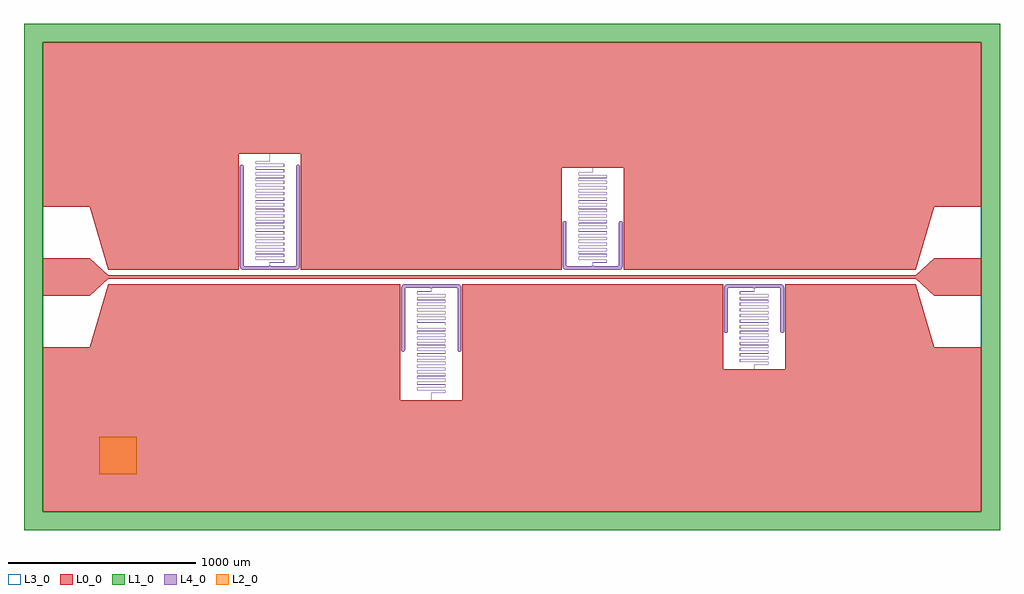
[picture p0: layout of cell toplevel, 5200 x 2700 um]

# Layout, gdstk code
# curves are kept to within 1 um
import gdstk
lib = gdstk.Library(unit=1e-6, precision=1e-09)
def R(c, l, rs):  # rectangles x0, y0, x1, y1
    for r in rs: c.add(gdstk.rectangle(r[:2], r[2:], *l))
def P(c, l, *ps):  # polygons
    for p in ps: c.add(gdstk.Polygon(p, *l))
L0_0 = (0, 0)
L1_0 = (1, 0)
L2_0 = (2, 0)
L3_0 = (3, 0)
L4_0 = (4, 0)

toplevel = lib.new_cell('toplevel')
P(toplevel, L0_0, [(-1125,657.5),(-1125,37.5),(265,37.5),(265,582.5),(595,582.5),(595,37.5),(2150,37.5),(2250,375),(2500,375),(2500,1250),(-2500,1250),(-2500,375),(-2250,375),(-2150,37.5),(-1455,37.5),(-1455,657.5)],
  [(2500,-1250),(2500,-375),(2250,-375),(2150,-37.5),(1455,-37.5),(1455,-492.5),(1125,-492.5),(1125,-37.5),(-265,-37.5),(-265,-657.5),(-595,-657.5),(-595,-37.5),(-2150,-37.5),(-2250,-375),(-2500,-375),(-2500,-1250)],
  [(-2150,10),(-2250,100),(-2500,100),(-2500,-100),(-2250,-100),(-2150,-10),(2150,-10),(2250,-100),(2500,-100),(2500,100),(2250,100),(2150,10)])
P(toplevel, L1_0, [(2600,1350),(-2600,1350),(-2600,-1250),(-2500,-1250),(-2500,1250),(2500,1250),(2500,-1250),(-2500,-1250),(-2600,-1250),(-2600,-1350),(2600,-1350)])
R(toplevel, L2_0, [(-2200,-1050,-2000,-850)])
R(toplevel, L3_0, [(-2500,-1250,2500,1250)])
P(toplevel, L4_0, [(-1158.256,37.5),(-1147.418,38.546),(-1139.063,42.458),(-1133.214,49.297),(-1130.348,58.625),(-1130,258.168),(-1150,258.168),(-1150.038,63.083),(-1151.082,58.445),(-1157.931,57.5),(-1280,57.5),(-1289.7,62.5),(-1289.291,77.175),(-1215.361,77.305),(-1214.704,78.388),(-1214.702,91.589),(-1215.693,92.78),(-1364.666,93.171),(-1364.214,107.187),(-1216.111,107.2),(-1214.7,108.606),(-1214.709,121.702),(-1215.724,122.784),(-1364.544,122.941),(-1364.163,137.192),(-1216.111,137.2),(-1214.7,138.601),(-1214.706,151.654),(-1215.755,152.787),(-1364.468,152.887),(-1364.184,167.19),(-1216.111,167.2),(-1214.7,168.601),(-1214.704,181.624),(-1215.73,182.785),(-1364.306,182.829),(-1364.405,197.142),(-1215.73,197.215),(-1214.706,198.34),(-1214.7,211.404),(-1216.111,212.8),(-1364.202,212.812),(-1364.507,227.089),(-1215.755,227.213),(-1214.706,228.334),(-1214.7,241.404),(-1216.111,242.8),(-1364.197,242.811),(-1364.572,257.03),(-1216.036,257.2),(-1214.724,258.168),(-1363.888,257.8),(-1365.3,256.404),(-1365.293,243.328),(-1364.245,242.213),(-1215.428,242.03),(-1215.803,227.811),(-1363.888,227.8),(-1365.3,226.404),(-1365.294,213.34),(-1364.251,212.213),(-1215.458,212.061),(-1215.798,197.812),(-1364.003,197.799),(-1365.3,196.378),(-1365.292,183.31),(-1364.238,182.212),(-1215.511,182.101),(-1215.82,167.809),(-1363.942,167.8),(-1365.3,166.503),(-1365.295,153.352),(-1364.245,152.213),(-1215.69,152.171),(-1215.579,137.864),(-1364.22,137.79),(-1365.293,136.678),(-1365.3,123.606),(-1363.888,122.2),(-1215.761,122.184),(-1215.491,107.912),(-1364.238,107.788),(-1365.294,106.653),(-1365.3,93.612),(-1363.888,92.2),(-1215.811,92.19),(-1215.45,77.946),(-1289.481,77.746),(-1290.296,76.612),(-1290.3,62.5),(-1300,57.5),(-1422.878,57.504),(-1428.872,58.413),(-1429.998,64.94),(-1430,258.168),(-1450,258.168),(-1449.942,62.192),(-1449.229,56.102),(-1447.537,50.823),(-1444.735,46.164),(-1441.07,42.559),(-1433.52,38.804),(-1423.646,37.512)],
  [(-1214.717,258.218),(-1214.707,271.678),(-1214.797,272.119),(-1215.007,272.459),(-1215.328,272.681),(-1215.755,272.787),(-1363.935,272.8),(-1364.474,272.89),(-1364.677,273.221),(-1364.698,286.567),(-1364.572,287.03),(-1364.184,287.19),(-1216.036,287.2),(-1215.532,287.25),(-1215.155,287.415),(-1214.887,287.699),(-1214.736,288.097),(-1214.707,301.678),(-1214.797,302.119),(-1215.007,302.459),(-1215.328,302.681),(-1215.755,302.787),(-1363.935,302.8),(-1364.471,302.888),(-1364.675,303.209),(-1364.698,316.567),(-1364.572,317.03),(-1364.184,317.19),(-1216.036,317.2),(-1215.539,317.249),(-1215.161,317.411),(-1214.894,317.686),(-1214.74,318.078),(-1214.707,331.678),(-1214.797,332.119),(-1215.007,332.459),(-1215.328,332.681),(-1215.755,332.787),(-1363.935,332.8),(-1364.465,332.885),(-1364.671,333.194),(-1364.698,346.567),(-1364.572,347.03),(-1364.18,347.191),(-1216.041,347.2),(-1215.545,347.247),(-1215.173,347.403),(-1214.903,347.673),(-1214.745,348.052),(-1214.707,361.677),(-1214.797,362.119),(-1215.007,362.459),(-1215.328,362.681),(-1215.755,362.787),(-1363.93,362.8),(-1364.457,362.881),(-1364.668,363.179),(-1364.698,376.567),(-1364.572,377.03),(-1364.18,377.191),(-1216.041,377.2),(-1215.558,377.244),(-1215.186,377.394),(-1214.915,377.655),(-1214.754,378.019),(-1214.707,391.677),(-1214.797,392.119),(-1215.007,392.459),(-1215.328,392.681),(-1215.755,392.787),(-1363.93,392.8),(-1364.451,392.878),(-1364.663,393.16),(-1364.698,406.563),(-1364.572,407.03),(-1364.18,407.191),(-1216.041,407.2),(-1215.565,407.243),(-1215.199,407.387),(-1214.928,407.636),(-1214.762,407.987),(-1214.707,421.671),(-1214.795,422.112),(-1215.002,422.453),(-1215.328,422.681),(-1215.755,422.787),(-1363.93,422.8),(-1364.439,422.872),(-1364.657,423.139),(-1364.698,436.563),(-1364.572,437.03),(-1364.18,437.191),(-1216.047,437.2),(-1215.218,437.375),(-1214.947,437.612),(-1214.774,437.947),(-1214.7,438.547),(-1214.707,451.671),(-1214.795,452.112),(-1215.002,452.453),(-1215.328,452.681),(-1215.755,452.787),(-1363.925,452.8),(-1364.427,452.867),(-1364.649,453.115),(-1364.698,466.563),(-1364.572,467.03),(-1364.18,467.191),(-1216.047,467.2),(-1215.237,467.364),(-1214.971,467.582),(-1214.792,467.894),(-1214.7,468.536),(-1214.706,481.665),(-1214.795,482.112),(-1215.002,482.453),(-1215.328,482.681),(-1215.755,482.787),(-1363.925,482.8),(-1364.414,482.861),(-1364.64,483.089),(-1364.698,496.558),(-1364.574,497.027),(-1364.18,497.191),(-1216.052,497.2),(-1215.27,497.347),(-1214.816,497.835),(-1214.7,498.525),(-1214.706,511.665),(-1214.795,512.112),(-1215.002,512.453),(-1215.328,512.681),(-1215.755,512.787),(-1363.925,512.8),(-1364.398,512.855),(-1364.626,513.058),(-1364.7,513.545),(-1364.698,526.558),(-1364.574,527.028),(-1364.18,527.191),(-1216.052,527.2),(-1215.302,527.331),(-1214.85,527.763),(-1214.7,528.508),(-1214.706,541.659),(-1214.795,542.112),(-1215.002,542.453),(-1215.328,542.681),(-1215.755,542.787),(-1363.92,542.8),(-1364.375,542.847),(-1364.609,543.024),(-1364.7,543.54),(-1364.698,556.553),(-1364.574,557.028),(-1364.18,557.191),(-1216.063,557.2),(-1215.355,557.308),(-1214.903,557.673),(-1214.75,558.032),(-1214.701,558.491),(-1214.705,571.648),(-1214.79,572.099),(-1214.997,572.448),(-1215.322,572.678),(-1215.755,572.787),(-1363.914,572.8),(-1364.347,572.839),(-1364.582,572.984),(-1364.7,573.525),(-1364.698,586.548),(-1364.575,587.025),(-1364.18,587.191),(-1216.069,587.2),(-1215.427,587.281),(-1214.986,587.564),(-1214.774,587.947),(-1214.701,588.463),(-1214.704,601.63),(-1214.787,602.092),(-1214.992,602.442),(-1215.315,602.675),(-1215.749,602.787),(-1363.909,602.8),(-1364.544,602.941),(-1364.7,603.51),(-1364.699,616.515),(-1364.601,616.989),(-1364.287,617.175),(-1291.058,617.2),(-1290.526,617.252),(-1290.136,617.428),(-1289.805,617.861),(-1289.7,618.508),(-1289.7,657.5),(-1290.3,657.5),(-1290.3,618.55),(-1290.342,618.143),(-1290.486,617.916),(-1291.075,617.8),(-1364.416,617.761),(-1364.788,617.621),(-1365.062,617.376),(-1365.232,617.033),(-1365.297,616.589),(-1365.298,603.446),(-1365.208,602.894),(-1364.953,602.502),(-1364.527,602.266),(-1363.926,602.2),(-1215.82,602.191),(-1215.425,602.025),(-1215.301,601.544),(-1215.3,588.52),(-1215.435,587.962),(-1215.671,587.834),(-1216.086,587.8),(-1364.251,587.787),(-1364.678,587.678),(-1365.003,587.448),(-1365.21,587.099),(-1365.295,586.642),(-1365.299,573.48),(-1365.24,572.993),(-1365.062,572.624),(-1364.612,572.295),(-1363.937,572.2),(-1215.82,572.191),(-1215.426,572.028),(-1215.302,571.553),(-1215.3,558.53),(-1215.404,558.003),(-1215.639,557.843),(-1216.08,557.8),(-1364.245,557.787),(-1364.671,557.681),(-1364.998,557.453),(-1365.208,557.106),(-1365.294,556.654),(-1365.3,543.503),(-1365.129,542.724),(-1364.671,542.319),(-1363.942,542.2),(-1215.82,542.191),(-1215.426,542.028),(-1215.302,541.558),(-1215.3,528.54),(-1215.382,528.04),(-1215.615,527.85),(-1216.08,527.8),(-1364.245,527.787),(-1364.671,527.681),(-1364.998,527.453),(-1365.205,527.112),(-1365.294,526.659),(-1365.3,513.519),(-1365.169,512.802),(-1364.717,512.34),(-1363.948,512.2),(-1215.82,512.191),(-1215.426,512.028),(-1215.302,511.558),(-1215.3,498.55),(-1215.367,498.073),(-1215.595,497.858),(-1216.075,497.8),(-1364.245,497.787),(-1364.671,497.681),(-1364.998,497.453),(-1365.205,497.112),(-1365.294,496.665),(-1365.3,483.53),(-1365.198,482.868),(-1365.019,482.57),(-1364.75,482.357),(-1363.953,482.2),(-1215.82,482.191),(-1215.428,482.03),(-1215.302,481.563),(-1215.355,468.102),(-1215.579,467.864),(-1216.075,467.8),(-1364.245,467.787),(-1364.671,467.681),(-1364.998,467.453),(-1365.205,467.112),(-1365.293,466.671),(-1365.3,453.541),(-1365.217,452.921),(-1365.039,452.593),(-1364.769,452.368),(-1363.953,452.2),(-1215.82,452.191),(-1215.428,452.03),(-1215.302,451.563),(-1215.346,438.129),(-1215.564,437.871),(-1216.07,437.8),(-1364.245,437.787),(-1364.671,437.681),(-1364.998,437.453),(-1365.205,437.112),(-1365.293,436.671),(-1365.3,423.547),(-1365.232,422.967),(-1365.062,422.624),(-1364.795,422.383),(-1363.959,422.2),(-1215.82,422.191),(-1215.428,422.03),(-1215.302,421.563),(-1215.34,408.15),(-1215.555,407.875),(-1216.07,407.8),(-1364.245,407.787),(-1364.671,407.681),(-1364.998,407.453),(-1365.205,407.112),(-1365.293,406.671),(-1365.243,393.006),(-1365.08,392.648),(-1364.808,392.39),(-1364.441,392.244),(-1363.959,392.2),(-1215.82,392.191),(-1215.428,392.03),(-1215.302,391.567),(-1215.335,378.168),(-1215.546,377.879),(-1216.07,377.8),(-1364.245,377.787),(-1364.671,377.681),(-1364.992,377.459),(-1365.203,377.119),(-1365.293,376.677),(-1365.251,363.039),(-1365.093,362.667),(-1364.82,362.398),(-1364.448,362.245),(-1363.959,362.2),(-1215.82,362.191),(-1215.428,362.03),(-1215.302,361.567),(-1215.33,348.186),(-1215.54,347.882),(-1216.07,347.8),(-1364.245,347.787),(-1364.671,347.681),(-1364.992,347.459),(-1365.203,347.119),(-1365.293,346.677),(-1365.257,333.065),(-1365.101,332.68),(-1364.833,332.407),(-1364.454,332.247),(-1363.959,332.2),(-1215.82,332.191),(-1215.428,332.03),(-1215.302,331.567),(-1215.327,318.202),(-1215.532,317.887),(-1216.065,317.8),(-1364.245,317.787),(-1364.671,317.681),(-1364.992,317.459),(-1365.203,317.119),(-1365.293,316.678),(-1365.263,303.091),(-1365.113,302.699),(-1364.845,302.415),(-1364.468,302.25),(-1363.964,302.2),(-1215.815,302.19),(-1215.428,302.03),(-1215.302,301.567),(-1215.325,288.213),(-1215.529,287.888),(-1216.065,287.8),(-1364.245,287.787),(-1364.671,287.681),(-1364.992,287.459),(-1365.203,287.119),(-1365.293,286.678),(-1365.267,273.11),(-1365.117,272.705),(-1364.852,272.42),(-1364.468,272.25),(-1363.964,272.2),(-1215.815,272.19),(-1215.428,272.03),(-1215.302,271.567),(-1215.335,258.168)],
  [(-1430,587.5),(-1432.929,594.571),(-1440,597.5),(-1446.756,594.873),(-1449.99,587.936),(-1450,258.168),(-1430,258.168)],
  [(-1130,587.5),(-1132.929,594.571),(-1140,597.5),(-1146.756,594.873),(-1149.99,587.936),(-1150,258.168),(-1130,258.168)],
  [(-579.564,-397.49),(-573.244,-394.873),(-570.038,-388.372),(-570,-258.112),(-590,-258.112),(-589.962,-388.372),(-586.756,-394.873)],
  [(-429.7,-618.55),(-429.561,-617.958),(-429.044,-617.801),(-355.532,-617.75),(-355.211,-617.621),(-354.937,-617.376),(-354.768,-617.033),(-354.702,-616.589),(-354.701,-603.446),(-354.868,-602.731),(-355.348,-602.31),(-356.074,-602.2),(-504.18,-602.191),(-504.575,-602.025),(-504.699,-601.544),(-504.7,-588.52),(-504.648,-588.112),(-504.494,-587.902),(-503.914,-587.8),(-355.749,-587.787),(-355.322,-587.678),(-354.997,-587.448),(-354.79,-587.099),(-354.705,-586.642),(-354.701,-573.48),(-354.792,-572.894),(-355.082,-572.471),(-355.532,-572.25),(-356.063,-572.2),(-504.18,-572.191),(-504.574,-572.028),(-504.698,-571.553),(-504.7,-558.53),(-504.554,-557.95),(-504.321,-557.832),(-503.92,-557.8),(-355.755,-557.787),(-355.328,-557.681),(-355.002,-557.453),(-354.792,-557.106),(-354.706,-556.654),(-354.7,-543.503),(-354.766,-542.973),(-354.961,-542.593),(-355.401,-542.29),(-356.058,-542.2),(-504.18,-542.191),(-504.574,-542.028),(-504.698,-541.558),(-504.7,-528.54),(-504.599,-528.008),(-504.385,-527.85),(-503.92,-527.8),(-355.755,-527.787),(-355.328,-527.681),(-355.002,-527.453),(-354.795,-527.112),(-354.706,-526.659),(-354.7,-513.519),(-354.871,-512.724),(-355.361,-512.305),(-356.052,-512.2),(-504.18,-512.191),(-504.574,-512.028),(-504.698,-511.558),(-504.7,-498.55),(-504.615,-498.035),(-504.361,-497.843),(-503.925,-497.8),(-355.755,-497.787),(-355.328,-497.681),(-355.002,-497.453),(-354.795,-497.112),(-354.706,-496.665),(-354.7,-483.53),(-354.837,-482.789),(-355.041,-482.507),(-355.328,-482.319),(-356.047,-482.2),(-504.18,-482.191),(-504.572,-482.03),(-504.698,-481.563),(-504.7,-468.555),(-504.626,-468.058),(-504.378,-467.848),(-503.925,-467.8),(-355.755,-467.787),(-355.328,-467.681),(-355.002,-467.453),(-354.795,-467.112),(-354.707,-466.671),(-354.7,-453.541),(-354.819,-452.828),(-355.018,-452.529),(-355.309,-452.328),(-356.047,-452.2),(-504.18,-452.191),(-504.572,-452.03),(-504.698,-451.563),(-504.7,-438.56),(-504.637,-438.082),(-504.392,-437.853),(-503.93,-437.8),(-355.755,-437.787),(-355.328,-437.681),(-355.002,-437.453),(-354.795,-437.112),(-354.707,-436.671),(-354.7,-423.547),(-354.8,-422.875),(-354.966,-422.587),(-355.244,-422.36),(-356.041,-422.2),(-504.18,-422.191),(-504.572,-422.03),(-504.698,-421.563),(-504.645,-408.102),(-504.398,-407.855),(-503.93,-407.8),(-355.755,-407.787),(-355.328,-407.681),(-355.002,-407.453),(-354.795,-407.112),(-354.707,-406.671),(-354.7,-393.558),(-354.772,-392.954),(-354.92,-392.648),(-355.192,-392.39),(-355.558,-392.244),(-356.041,-392.2),(-504.18,-392.191),(-504.572,-392.03),(-504.698,-391.567),(-504.665,-378.168),(-504.454,-377.879),(-503.93,-377.8),(-355.755,-377.787),(-355.328,-377.681),(-355.007,-377.459),(-354.797,-377.119),(-354.707,-376.677),(-354.7,-363.563),(-354.776,-362.94),(-354.937,-362.624),(-355.218,-362.375),(-356.041,-362.2),(-504.18,-362.191),(-504.572,-362.03),(-504.698,-361.567),(-504.67,-348.186),(-504.46,-347.882),(-503.93,-347.8),(-355.755,-347.787),(-355.328,-347.681),(-355.007,-347.459),(-354.797,-347.119),(-354.707,-346.677),(-354.755,-333.013),(-354.898,-332.68),(-355.167,-332.407),(-355.545,-332.247),(-356.041,-332.2),(-504.18,-332.191),(-504.572,-332.03),(-504.698,-331.567),(-504.673,-318.202),(-504.468,-317.887),(-503.935,-317.8),(-355.755,-317.787),(-355.328,-317.681),(-355.007,-317.459),(-354.797,-317.119),(-354.707,-316.678),(-354.75,-303.032),(-354.915,-302.655),(-355.192,-302.39),(-355.584,-302.238),(-356.036,-302.2),(-504.184,-302.19),(-504.572,-302.03),(-504.698,-301.567),(-504.675,-288.213),(-504.471,-287.888),(-503.935,-287.8),(-355.755,-287.787),(-355.328,-287.681),(-355.007,-287.459),(-354.797,-287.119),(-354.707,-286.678),(-354.745,-273.052),(-354.911,-272.661),(-355.192,-272.39),(-355.584,-272.238),(-356.036,-272.2),(-504.184,-272.19),(-504.572,-272.03),(-504.698,-271.567),(-504.648,-258.112),(-505.267,-258.112),(-505.293,-271.678),(-505.203,-272.119),(-504.992,-272.459),(-504.671,-272.681),(-504.245,-272.787),(-356.065,-272.8),(-355.526,-272.89),(-355.323,-273.221),(-355.302,-286.567),(-355.428,-287.03),(-355.815,-287.19),(-503.964,-287.2),(-504.468,-287.25),(-504.845,-287.415),(-505.113,-287.699),(-505.264,-288.097),(-505.293,-301.678),(-505.203,-302.119),(-504.992,-302.459),(-504.671,-302.681),(-504.245,-302.787),(-356.065,-302.8),(-355.529,-302.888),(-355.325,-303.209),(-355.302,-316.567),(-355.428,-317.03),(-355.815,-317.19),(-503.964,-317.2),(-504.461,-317.249),(-504.839,-317.411),(-505.105,-317.686),(-505.26,-318.078),(-505.293,-331.678),(-505.203,-332.119),(-504.992,-332.459),(-504.671,-332.681),(-504.245,-332.787),(-356.065,-332.8),(-355.535,-332.885),(-355.329,-333.194),(-355.302,-346.567),(-355.428,-347.03),(-355.82,-347.191),(-503.959,-347.2),(-504.454,-347.247),(-504.827,-347.403),(-505.097,-347.673),(-505.241,-348),(-505.293,-361.677),(-505.203,-362.119),(-504.992,-362.459),(-504.671,-362.681),(-504.245,-362.787),(-356.07,-362.8),(-355.589,-362.86),(-355.347,-363.125),(-355.302,-376.567),(-355.428,-377.03),(-355.82,-377.191),(-503.959,-377.2),(-504.776,-377.371),(-505.058,-377.618),(-505.232,-377.967),(-505.3,-378.558),(-505.293,-391.677),(-505.203,-392.119),(-504.992,-392.459),(-504.671,-392.681),(-504.245,-392.787),(-356.07,-392.8),(-355.595,-392.858),(-355.353,-393.108),(-355.302,-406.563),(-355.428,-407.03),(-355.82,-407.191),(-503.959,-407.2),(-504.763,-407.364),(-505.044,-407.599),(-505.208,-407.894),(-505.3,-408.552),(-505.293,-421.671),(-505.205,-422.112),(-504.998,-422.453),(-504.671,-422.681),(-504.245,-422.787),(-356.07,-422.8),(-355.561,-422.872),(-355.359,-423.092),(-355.302,-436.563),(-355.428,-437.03),(-355.82,-437.191),(-503.953,-437.2),(-504.743,-437.353),(-505.024,-437.576),(-505.21,-437.901),(-505.3,-438.547),(-505.293,-451.671),(-505.205,-452.112),(-504.998,-452.453),(-504.671,-452.681),(-504.245,-452.787),(-356.075,-452.8),(-355.618,-452.849),(-355.368,-453.07),(-355.3,-453.56),(-355.302,-466.563),(-355.428,-467.03),(-355.82,-467.191),(-503.953,-467.2),(-504.685,-467.325),(-504.97,-467.518),(-505.172,-467.809),(-505.3,-468.536),(-505.294,-481.665),(-505.205,-482.112),(-504.998,-482.453),(-504.671,-482.681),(-504.245,-482.787),(-356.075,-482.8),(-355.586,-482.861),(-355.378,-483.049),(-355.3,-483.555),(-355.302,-496.558),(-355.426,-497.027),(-355.82,-497.191),(-503.948,-497.2),(-504.652,-497.31),(-504.942,-497.491),(-505.146,-497.757),(-505.3,-498.525),(-505.294,-511.665),(-505.205,-512.112),(-504.998,-512.453),(-504.671,-512.681),(-504.245,-512.787),(-356.075,-512.8),(-355.602,-512.855),(-355.393,-513.021),(-355.3,-513.545),(-355.302,-526.558),(-355.426,-527.028),(-355.82,-527.191),(-503.948,-527.2),(-504.619,-527.297),(-505.062,-527.624),(-505.243,-528.006),(-505.3,-528.508),(-505.294,-541.659),(-505.205,-542.112),(-504.998,-542.453),(-504.671,-542.681),(-504.245,-542.787),(-356.08,-542.8),(-355.668,-542.835),(-355.433,-542.964),(-355.3,-543.54),(-355.302,-556.553),(-355.426,-557.028),(-355.82,-557.191),(-503.937,-557.2),(-504.494,-557.257),(-504.959,-557.508),(-505.222,-557.934),(-505.299,-558.491),(-505.295,-571.648),(-505.21,-572.099),(-505.003,-572.448),(-504.678,-572.678),(-504.245,-572.787),(-356.086,-572.8),(-355.46,-572.937),(-355.3,-573.525),(-355.302,-586.548),(-355.425,-587.025),(-355.82,-587.191),(-503.931,-587.2),(-504.435,-587.243),(-504.82,-587.398),(-505.184,-587.835),(-505.299,-588.463),(-505.296,-601.63),(-505.213,-602.092),(-505.008,-602.442),(-504.685,-602.675),(-504.251,-602.787),(-355.589,-602.86),(-355.372,-603.061),(-355.3,-603.51),(-355.301,-616.515),(-355.399,-616.989),(-355.713,-617.175),(-428.942,-617.2),(-429.474,-617.252),(-429.864,-617.428),(-430.195,-617.861),(-430.3,-618.508),(-430.3,-657.5),(-429.7,-657.5)],
  [(-279.564,-397.49),(-273.244,-394.873),(-270.038,-388.372),(-270,-258.112),(-290,-258.112),(-289.962,-388.372),(-286.756,-394.873)],
  [(-270,-65.846),(-271.152,-54.518),(-275.477,-45.9),(-282.768,-40.22),(-292.906,-37.664),(-563.348,-37.508),(-571.92,-38.386),(-579.032,-41.184),(-583.502,-44.739),(-586.86,-49.435),(-588.954,-54.918),(-589.917,-61.647),(-590,-258.112),(-570,-258.112),(-569.962,-63.083),(-568.918,-58.445),(-562.069,-57.5),(-440,-57.5),(-430.3,-62.5),(-430.709,-77.175),(-504.639,-77.305),(-505.296,-78.388),(-505.297,-91.589),(-504.307,-92.78),(-355.334,-93.171),(-355.786,-107.187),(-503.888,-107.2),(-505.3,-108.606),(-505.291,-121.702),(-504.276,-122.784),(-355.456,-122.941),(-355.837,-137.192),(-503.888,-137.2),(-505.3,-138.601),(-505.294,-151.654),(-504.245,-152.787),(-355.532,-152.887),(-355.815,-167.19),(-503.888,-167.2),(-505.3,-168.601),(-505.296,-181.624),(-504.269,-182.785),(-355.694,-182.829),(-355.595,-197.142),(-504.269,-197.215),(-505.294,-198.34),(-505.3,-211.404),(-503.888,-212.8),(-355.798,-212.812),(-355.493,-227.089),(-504.245,-227.213),(-505.294,-228.334),(-505.3,-241.404),(-503.888,-242.8),(-355.803,-242.811),(-355.428,-257.03),(-503.964,-257.2),(-505.267,-258.112),(-356.111,-257.8),(-354.7,-256.404),(-354.707,-243.328),(-355.755,-242.213),(-504.572,-242.03),(-504.197,-227.811),(-356.111,-227.8),(-354.7,-226.404),(-354.706,-213.34),(-355.749,-212.213),(-504.542,-212.061),(-504.202,-197.812),(-355.997,-197.799),(-354.7,-196.378),(-354.708,-183.31),(-355.762,-182.212),(-504.489,-182.101),(-504.18,-167.809),(-356.058,-167.8),(-354.7,-166.503),(-354.705,-153.352),(-355.755,-152.213),(-504.31,-152.171),(-504.421,-137.864),(-355.78,-137.79),(-354.707,-136.678),(-354.7,-123.606),(-356.111,-122.2),(-504.239,-122.184),(-504.509,-107.912),(-355.762,-107.788),(-354.706,-106.653),(-354.7,-93.612),(-356.111,-92.2),(-504.189,-92.19),(-504.55,-77.946),(-430.519,-77.746),(-429.703,-76.612),(-429.7,-62.5),(-420,-57.5),(-297.122,-57.504),(-291.128,-58.413),(-290.002,-64.94),(-290,-258.112),(-270,-258.112)],
  [(561.744,37.5),(572.581,38.546),(580.803,42.359),(586.634,49.02),(589.568,58.01),(590,228.612),(570,228.612),(569.944,62.684),(568.872,58.413),(562.069,57.5),(440,57.5),(430.3,62.5),(430.709,77.175),(504.639,77.305),(505.296,78.388),(505.297,91.589),(504.307,92.78),(355.35,93.115),(355.786,107.187),(503.888,107.2),(505.3,108.606),(505.291,121.702),(504.276,122.784),(355.491,122.912),(355.837,137.192),(503.888,137.2),(505.3,138.601),(505.294,151.654),(504.245,152.787),(355.579,152.864),(355.717,167.176),(504.245,167.213),(505.294,168.346),(505.299,181.497),(503.942,182.8),(355.82,182.809),(355.498,197.093),(504.245,197.213),(505.294,198.34),(505.3,211.481),(503.948,212.8),(355.82,212.809),(355.45,227.054),(504.089,227.202),(505.3,228.612),(503.888,227.8),(356.052,227.8),(354.7,226.475),(354.706,213.334),(355.755,212.213),(504.542,212.061),(504.18,197.809),(356.052,197.8),(354.7,196.486),(354.706,183.34),(355.755,182.213),(504.521,182.079),(504.18,167.809),(356.058,167.8),(354.7,166.503),(354.705,153.352),(355.755,152.213),(504.46,152.118),(504.18,137.809),(356.069,137.8),(354.701,136.531),(354.705,123.364),(355.749,122.213),(504.239,122.184),(504.421,107.864),(355.762,107.788),(354.706,106.653),(354.7,93.612),(356.111,92.2),(504.189,92.19),(504.519,77.919),(430.519,77.746),(429.703,76.612),(429.7,62.5),(420,57.5),(297.122,57.504),(291.211,58.362),(290.004,64.622),(290,228.612),(270,228.612),(270.089,61.536),(270.98,55.184),(272.925,49.852),(276.03,45.249),(280.145,41.699),(287.418,38.546),(296.354,37.512)],
  [(505.3,241.47),(505.224,242.06),(504.987,242.465),(504.586,242.715),(503.953,242.8),(356.112,242.8),(355.632,242.845),(355.376,243.052),(355.3,243.612),(355.303,256.591),(355.414,257.012),(355.777,257.186),(503.888,257.2),(504.527,257.266),(504.965,257.513),(505.222,257.934),(505.3,258.596),(505.289,271.726),(505.203,272.119),(504.987,272.465),(504.606,272.708),(504.208,272.791),(356.112,272.8),(355.632,272.845),(355.401,273.008),(355.3,273.612),(355.302,286.577),(355.43,287.032),(355.833,287.192),(503.888,287.2),(504.527,287.266),(504.965,287.513),(505.222,287.934),(505.3,288.596),(505.291,301.702),(505.203,302.119),(504.976,302.476),(504.625,302.7),(504.22,302.789),(356.112,302.8),(355.69,302.829),(355.428,302.97),(355.3,303.612),(355.302,316.572),(355.421,317.021),(355.824,317.191),(503.888,317.2),(504.527,317.266),(504.965,317.513),(505.222,317.934),(505.3,318.596),(505.287,331.751),(505.175,332.185),(504.959,332.492),(504.639,332.695),(504.226,332.789),(356.112,332.8),(355.493,332.911),(355.355,333.102),(355.302,333.433),(355.302,346.563),(355.414,347.012),(355.82,347.191),(503.888,347.2),(504.527,347.266),(504.959,347.507),(505.236,347.98),(505.3,348.596),(505.289,361.726),(505.187,362.158),(504.97,362.482),(504.645,362.692),(504.226,362.789),(356.112,362.8),(355.582,362.863),(355.376,363.052),(355.302,363.433),(355.3,376.425),(355.384,376.962),(355.69,377.171),(504.245,377.213),(504.671,377.319),(504.992,377.541),(505.203,377.881),(505.293,378.322),(505.3,391.431),(505.23,392.04),(504.982,392.47),(504.559,392.724),(503.959,392.8),(355.82,392.809),(355.428,392.97),(355.302,393.433),(355.302,406.548),(355.358,406.905),(355.532,407.113),(356.065,407.2),(504.245,407.213),(504.671,407.319),(504.992,407.541),(505.203,407.881),(505.293,408.322),(505.3,421.426),(505.236,422.02),(504.992,422.459),(504.573,422.719),(503.964,422.8),(355.82,422.809),(355.43,422.968),(355.302,423.423),(355.301,436.524),(355.456,437.059),(356.025,437.2),(504.276,437.216),(504.698,437.331),(504.965,437.513),(505.19,437.848),(505.29,438.286),(505.3,451.399),(505.222,452.066),(504.965,452.487),(504.527,452.734),(503.888,452.8),(355.807,452.811),(355.423,452.977),(355.302,453.447),(355.3,466.388),(355.426,467.027),(355.69,467.171),(356.112,467.2),(504.263,467.215),(504.671,467.319),(504.987,467.535),(505.205,467.888),(505.288,468.261),(505.3,481.399),(505.224,482.059),(504.965,482.487),(504.527,482.734),(503.888,482.8),(355.82,482.809),(355.425,482.975),(355.302,483.433),(355.3,496.388),(355.398,496.987),(355.632,497.155),(356.112,497.2),(504.232,497.212),(504.678,497.322),(505.019,497.57),(505.208,497.894),(505.294,498.34),(505.3,511.399),(505.226,512.053),(504.97,512.482),(504.533,512.732),(503.888,512.8),(355.842,512.807),(355.435,512.962),(355.303,513.414),(355.3,526.388),(355.372,526.939),(355.632,527.155),(356.112,527.2),(504.263,527.215),(504.652,527.31),(504.992,527.541),(505.187,527.842),(505.291,528.292),(505.3,541.394),(505.232,542.033),(504.976,542.476),(504.533,542.732),(503.888,542.8),(356.091,542.8),(355.535,542.885),(355.358,543.095),(355.301,543.5),(355.301,556.505),(355.398,556.987),(355.713,557.175),(428.931,557.2),(429.743,557.354),(430.157,557.776),(430.299,558.457),(430.3,582.5),(429.7,582.5),(429.7,558.52),(429.612,558.029),(429.368,557.845),(356.096,557.8),(355.289,557.663),(354.857,557.25),(354.702,556.571),(354.702,543.429),(354.768,542.967),(354.991,542.558),(355.322,542.322),(355.78,542.21),(503.888,542.2),(504.31,542.171),(504.544,542.059),(504.665,541.832),(504.7,541.388),(504.696,528.4),(504.563,527.96),(504.141,527.806),(355.572,527.759),(355.224,527.629),(354.928,527.364),(354.755,526.987),(354.701,526.525),(354.704,513.382),(354.89,512.692),(355.361,512.305),(356.069,512.2),(504.18,512.191),(504.544,512.059),(504.695,511.632),(504.7,498.525),(504.54,497.937),(503.914,497.8),(355.755,497.787),(355.276,497.657),(354.966,497.412),(354.774,497.053),(354.701,496.537),(354.705,483.358),(354.853,482.757),(355.218,482.375),(356.063,482.2),(504.18,482.191),(504.574,482.027),(504.698,481.553),(504.7,468.54),(504.666,468.171),(504.542,467.939),(503.92,467.8),(355.755,467.787),(355.328,467.681),(355.002,467.453),(354.795,467.112),(354.706,466.659),(354.7,453.508),(354.783,452.921),(355.099,452.456),(355.545,452.247),(356.052,452.2),(504.18,452.191),(504.574,452.027),(504.698,451.558),(504.7,438.545),(504.67,438.186),(504.53,437.928),(503.92,437.8),(355.755,437.787),(355.296,437.666),(354.997,437.448),(354.781,437.073),(354.702,436.583),(354.702,423.435),(354.785,422.914),(355.013,422.535),(355.434,422.278),(356.111,422.2),(504.193,422.189),(504.574,422.027),(504.699,421.544),(504.7,408.606),(504.662,408.157),(504.542,407.939),(503.888,407.8),(355.762,407.788),(355.289,407.663),(354.981,407.43),(354.785,407.086),(354.702,406.583),(354.702,393.44),(354.764,392.98),(354.976,392.576),(355.427,392.281),(356.111,392.2),(504.189,392.19),(504.568,392.034),(504.698,391.548),(504.7,378.606),(504.662,378.157),(504.542,377.939),(503.888,377.8),(355.768,377.788),(355.348,377.69),(355.024,377.476),(354.81,377.152),(354.71,376.72),(354.702,363.44),(354.764,362.98),(354.915,362.655),(355.375,362.3),(356.111,362.2),(504.184,362.19),(504.561,362.042),(504.698,361.558),(504.7,348.606),(504.662,348.157),(504.542,347.939),(503.888,347.8),(355.774,347.789),(355.315,347.675),(355.002,347.453),(354.781,347.073),(354.703,346.606),(354.702,333.44),(354.887,332.699),(355.328,332.319),(356.111,332.2),(504.18,332.191),(504.582,332.016),(504.698,331.563),(504.7,318.612),(504.662,318.157),(504.542,317.939),(503.888,317.8),(355.78,317.789),(355.368,317.698),(355.018,317.47),(354.81,317.152),(354.708,316.69),(354.701,303.446),(354.857,302.75),(355.328,302.319),(356.111,302.2),(504.171,302.192),(504.575,302.025),(504.698,301.572),(504.7,288.612),(504.662,288.157),(504.542,287.939),(503.888,287.8),(355.786,287.79),(355.381,287.703),(355.029,287.482),(354.805,287.139),(354.705,286.636),(354.701,273.446),(354.834,272.796),(355.283,272.34),(356.111,272.2),(504.167,272.192),(504.565,272.038),(504.697,271.586),(504.7,258.612),(504.662,258.157),(504.542,257.939),(503.888,257.8),(355.792,257.791),(355.315,257.675),(355.024,257.476),(354.787,257.092),(354.706,256.653),(354.701,243.452),(354.834,242.796),(355.283,242.34),(356.111,242.2),(504.158,242.193),(504.555,242.048),(504.697,241.595),(504.7,228.612),(505.3,228.612)],
  [(290,287.5),(287.66,293.928),(281.736,297.348),(275,296.16),(270.603,290.92),(270,228.612),(290,228.612)],
  [(590,287.5),(587.66,293.928),(581.736,297.348),(575,296.16),(570.603,290.92),(570,228.612),(590,228.612)],
  [(1140.436,-297.49),(1146.756,-294.873),(1149.962,-288.372),(1150,-182.932),(1130,-182.932),(1130.038,-288.372),(1133.244,-294.873)],
  [(1290.3,-468.52),(1290.45,-467.946),(1290.976,-467.801),(1364.468,-467.75),(1364.87,-467.567),(1365.121,-467.288),(1365.26,-466.922),(1365.3,-466.388),(1365.294,-453.34),(1365.085,-452.655),(1364.625,-452.3),(1363.92,-452.2),(1215.82,-452.191),(1215.425,-452.025),(1215.301,-451.539),(1215.3,-438.51),(1215.359,-438.092),(1215.503,-437.904),(1216.091,-437.8),(1364.251,-437.787),(1364.685,-437.675),(1365.008,-437.442),(1365.213,-437.092),(1365.296,-436.63),(1365.299,-423.463),(1365.184,-422.835),(1364.876,-422.437),(1364.507,-422.26),(1363.931,-422.2),(1215.82,-422.191),(1215.425,-422.025),(1215.302,-421.548),(1215.3,-408.525),(1215.437,-407.96),(1215.653,-407.839),(1216.086,-407.8),(1364.245,-407.787),(1364.678,-407.678),(1365.003,-407.448),(1365.21,-407.099),(1365.295,-406.647),(1365.299,-393.491),(1365.236,-392.98),(1365.053,-392.612),(1364.573,-392.281),(1363.937,-392.2),(1215.82,-392.191),(1215.426,-392.027),(1215.302,-391.553),(1215.3,-378.54),(1215.411,-377.993),(1215.625,-377.847),(1216.08,-377.8),(1364.245,-377.787),(1364.671,-377.681),(1364.998,-377.453),(1365.205,-377.112),(1365.294,-376.659),(1365.3,-363.508),(1365.109,-362.692),(1364.619,-362.297),(1363.948,-362.2),(1215.82,-362.191),(1215.426,-362.027),(1215.302,-361.558),(1215.3,-348.545),(1215.393,-348.021),(1215.602,-347.855),(1216.075,-347.8),(1364.245,-347.787),(1364.671,-347.681),(1364.998,-347.453),(1365.205,-347.112),(1365.294,-346.665),(1365.3,-333.525),(1365.146,-332.757),(1364.942,-332.491),(1364.652,-332.31),(1363.948,-332.2),(1215.82,-332.191),(1215.426,-332.027),(1215.302,-331.558),(1215.3,-318.555),(1215.378,-318.049),(1215.586,-317.861),(1216.075,-317.8),(1364.245,-317.787),(1364.671,-317.681),(1364.998,-317.453),(1365.205,-317.112),(1365.294,-316.666),(1365.3,-303.536),(1365.208,-302.894),(1365.029,-302.582),(1364.763,-302.364),(1363.953,-302.2),(1215.82,-302.191),(1215.428,-302.03),(1215.302,-301.563),(1215.35,-288.115),(1215.573,-287.867),(1216.075,-287.8),(1364.245,-287.787),(1364.671,-287.681),(1364.998,-287.453),(1365.205,-287.112),(1365.293,-286.671),(1365.3,-273.547),(1365.21,-272.901),(1365.024,-272.576),(1364.743,-272.353),(1363.953,-272.2),(1215.82,-272.191),(1215.428,-272.03),(1215.302,-271.563),(1215.343,-258.139),(1215.561,-257.872),(1216.07,-257.8),(1364.245,-257.787),(1364.671,-257.681),(1364.998,-257.453),(1365.205,-257.112),(1365.293,-256.671),(1365.238,-242.987),(1365.071,-242.636),(1364.801,-242.387),(1364.435,-242.243),(1363.959,-242.2),(1215.82,-242.191),(1215.428,-242.03),(1215.302,-241.563),(1215.337,-228.16),(1215.549,-227.878),(1216.07,-227.8),(1364.245,-227.787),(1364.671,-227.681),(1364.992,-227.459),(1365.203,-227.119),(1365.293,-226.677),(1365.3,-213.558),(1365.232,-212.967),(1365.058,-212.618),(1364.776,-212.371),(1363.959,-212.2),(1215.82,-212.191),(1215.428,-212.03),(1215.302,-211.567),(1215.332,-198.179),(1215.543,-197.881),(1216.07,-197.8),(1364.245,-197.787),(1364.671,-197.681),(1364.992,-197.459),(1365.203,-197.119),(1365.293,-196.678),(1365.3,-183.563),(1365.221,-182.932),(1364.534,-182.932),(1364.67,-183.186),(1364.7,-183.575),(1364.698,-196.567),(1364.572,-197.03),(1364.18,-197.191),(1216.041,-197.2),(1215.552,-197.245),(1215.18,-197.398),(1214.907,-197.667),(1214.749,-198.039),(1214.707,-211.677),(1214.797,-212.119),(1215.007,-212.459),(1215.328,-212.681),(1215.755,-212.787),(1363.93,-212.8),(1364.454,-212.879),(1364.665,-213.168),(1364.698,-226.567),(1364.572,-227.03),(1364.18,-227.191),(1216.041,-227.2),(1215.558,-227.244),(1215.192,-227.39),(1214.92,-227.648),(1214.772,-227.954),(1214.7,-228.558),(1214.707,-241.671),(1214.795,-242.112),(1215.002,-242.453),(1215.328,-242.681),(1215.755,-242.787),(1363.93,-242.8),(1364.398,-242.855),(1364.645,-243.102),(1364.698,-256.563),(1364.572,-257.03),(1364.18,-257.191),(1216.041,-257.2),(1215.205,-257.383),(1214.937,-257.624),(1214.768,-257.967),(1214.7,-258.547),(1214.707,-271.671),(1214.795,-272.112),(1215.002,-272.453),(1215.328,-272.681),(1215.755,-272.787),(1363.93,-272.8),(1364.436,-272.871),(1364.654,-273.129),(1364.698,-286.563),(1364.572,-287.03),(1364.18,-287.191),(1216.047,-287.2),(1215.231,-287.368),(1214.8,-287.875),(1214.7,-288.541),(1214.707,-301.671),(1214.795,-302.112),(1215.002,-302.453),(1215.328,-302.681),(1215.755,-302.787),(1363.925,-302.8),(1364.421,-302.864),(1364.645,-303.102),(1364.698,-316.563),(1364.572,-317.03),(1364.18,-317.191),(1216.047,-317.2),(1215.328,-317.319),(1215.041,-317.507),(1214.837,-317.789),(1214.7,-318.53),(1214.706,-331.666),(1214.795,-332.112),(1215.002,-332.453),(1215.328,-332.681),(1215.755,-332.787),(1363.925,-332.8),(1364.361,-332.843),(1364.615,-333.035),(1364.7,-333.55),(1364.698,-346.558),(1364.574,-347.027),(1364.18,-347.191),(1216.052,-347.2),(1215.361,-347.305),(1214.871,-347.724),(1214.7,-348.519),(1214.706,-361.659),(1214.795,-362.112),(1215.002,-362.453),(1215.328,-362.681),(1215.755,-362.787),(1363.92,-362.8),(1364.385,-362.85),(1364.599,-363.008),(1364.7,-363.54),(1364.698,-376.558),(1364.574,-377.027),(1364.18,-377.191),(1216.058,-377.2),(1215.328,-377.319),(1214.915,-377.655),(1214.766,-377.973),(1214.7,-378.503),(1214.706,-391.653),(1214.792,-392.106),(1215.002,-392.453),(1215.328,-392.681),(1215.755,-392.787),(1363.92,-392.8),(1364.321,-392.832),(1364.575,-392.975),(1364.7,-393.53),(1364.698,-406.553),(1364.574,-407.027),(1364.18,-407.191),(1216.063,-407.2),(1215.46,-407.27),(1215.03,-407.518),(1214.776,-407.94),(1214.701,-408.48),(1214.705,-421.642),(1214.79,-422.099),(1214.997,-422.448),(1215.322,-422.678),(1215.749,-422.787),(1363.914,-422.8),(1364.521,-422.921),(1364.648,-423.112),(1364.7,-423.52),(1364.699,-436.544),(1364.575,-437.025),(1364.18,-437.191),(1216.074,-437.2),(1215.532,-437.25),(1215.186,-437.394),(1214.84,-437.783),(1214.701,-438.452),(1214.704,-451.618),(1214.785,-452.086),(1214.992,-452.442),(1215.315,-452.675),(1215.749,-452.787),(1364.411,-452.86),(1364.628,-453.061),(1364.699,-453.5),(1364.699,-466.505),(1364.602,-466.987),(1364.287,-467.175),(1291.069,-467.2),(1290.257,-467.353),(1289.843,-467.776),(1289.701,-468.457),(1289.7,-492.5),(1290.3,-492.5)],
  [(1440.436,-297.49),(1446.756,-294.873),(1449.962,-288.372),(1450,-182.932),(1430,-182.932),(1430.038,-288.372),(1433.244,-294.873)],
  [(1450,-65.846),(1448.848,-54.518),(1444.63,-46.032),(1437.232,-40.22),(1427.558,-37.704),(1157.042,-37.504),(1144.844,-39.344),(1139.063,-42.458),(1134.76,-46.832),(1131.794,-52.481),(1130.25,-59.469),(1130,-182.932),(1150,-182.932),(1150.071,-62.427),(1151.161,-58.392),(1157.931,-57.5),(1280,-57.5),(1289.7,-62.5),(1289.291,-77.175),(1215.361,-77.305),(1214.702,-91.589),(1215.693,-92.78),(1364.629,-93.064),(1364.189,-107.19),(1215.186,-107.394),(1214.702,-121.565),(1215.762,-122.788),(1364.699,-123.461),(1364.184,-137.19),(1215.375,-137.3),(1214.702,-151.56),(1215.755,-152.787),(1363.935,-152.8),(1364.7,-153.575),(1364.18,-167.191),(1215.597,-167.236),(1214.702,-168.411),(1214.702,-181.56),(1216.111,-182.8),(1365.221,-182.932),(1363.959,-182.2),(1215.535,-182.115),(1215.811,-167.81),(1363.888,-167.8),(1365.3,-166.404),(1365.291,-153.298),(1364.238,-152.212),(1215.686,-152.17),(1215.576,-137.865),(1364.245,-137.787),(1365.293,-136.678),(1365.3,-123.574),(1363.964,-122.2),(1215.82,-122.191),(1215.3,-108.622),(1216.035,-107.8),(1364.202,-107.791),(1365.292,-106.683),(1365.3,-93.622),(1363.888,-92.2),(1215.811,-92.19),(1215.518,-77.894),(1289.481,-77.746),(1290.296,-76.612),(1290.3,-62.5),(1300,-57.5),(1422.398,-57.501),(1428.488,-58.21),(1429.604,-59.981),(1429.995,-64.544),(1430,-182.932),(1450,-182.932)])

lib.write_gds('toplevel.gds')
